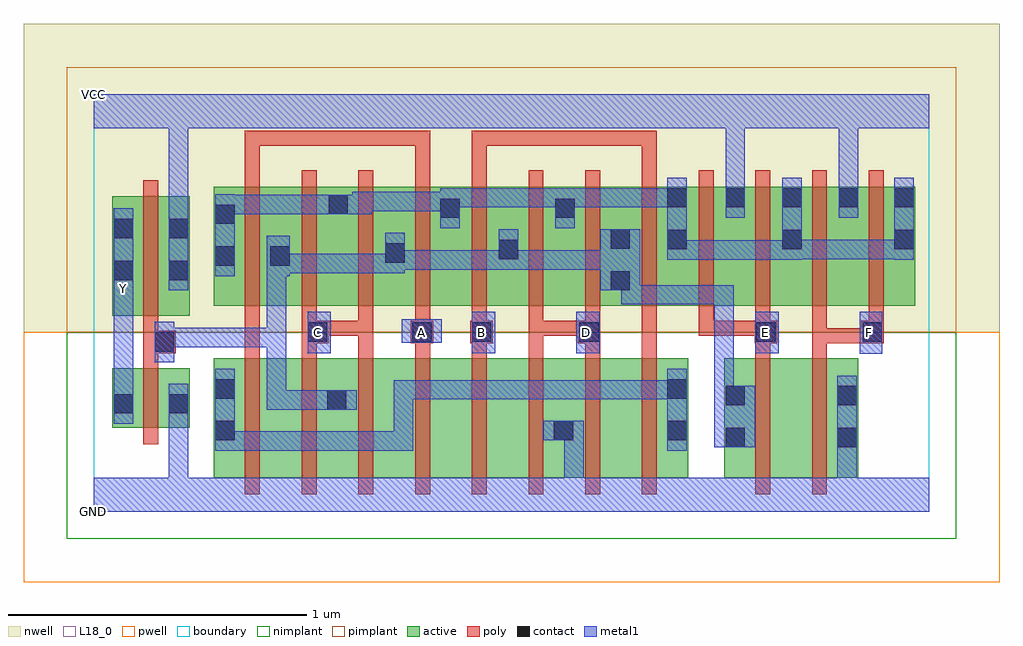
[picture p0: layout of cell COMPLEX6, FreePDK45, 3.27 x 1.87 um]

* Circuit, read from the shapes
.subckt COMPLEX6 A B C D E F GND VCC Y
M1 GND n1 Y VSUBS nfet w=0.2u l=0.05u
M2 n2 A n3 VSUBS nfet w=0.4u l=0.05u
M3 n1 C n2 VSUBS nfet w=0.4u l=0.05u
M4 n4 C n1 VSUBS nfet w=0.4u l=0.05u
M5 n5 A n4 VSUBS nfet w=0.4u l=0.05u
M6 n6 B n5 VSUBS nfet w=0.4u l=0.05u
M7 GND D n6 VSUBS nfet w=0.4u l=0.05u
M8 n7 D GND VSUBS nfet w=0.4u l=0.05u
M9 n3 B n7 VSUBS nfet w=0.4u l=0.05u
M10 n8 E n1 VSUBS nfet w=0.4u l=0.05u
M11 GND F n8 VSUBS nfet w=0.4u l=0.05u
M12 VCC n1 Y n9 pfet w=0.4u l=0.05u
M13 n1 A n10 n9 pfet w=0.4u l=0.05u m=2
M14 n10 C n1 n9 pfet w=0.4u l=0.05u m=2
M15 n1 B n10 n9 pfet w=0.4u l=0.05u m=2
M16 n10 D n1 n9 pfet w=0.4u l=0.05u m=2
M17 VCC E n10 n9 pfet w=0.4u l=0.05u m=2
M18 VCC F n10 n9 pfet w=0.4u l=0.05u m=2
.ends

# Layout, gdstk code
import gdstk
lib = gdstk.Library(unit=1e-6, precision=1e-09)
def R(c, l, rs):  # rectangles x0, y0, x1, y1
    for r in rs: c.add(gdstk.rectangle(r[:2], r[2:], *l))
def A(c, l, x, y, w, h, nx, ny, dx, dy):  # array of equal rectangles
    R(c, l, [(x+i*dx, y+j*dy, x+i*dx+w, y+j*dy+h) for i in range(nx) for j in range(ny)])
active = (1, 0)
pwell = (2, 0)
nwell = (3, 0)
nimplant = (4, 0)
pimplant = (5, 0)
poly = (9, 0)
contact = (10, 0)
metal1 = (11, 0)
L18_0 = (18, 0)
boundary = (235, 0)

complex6 = lib.new_cell('COMPLEX6')
A(complex6, active, 0.402, 0.69, 0.26, 0.4, 3, 1, 0.57, 0)
R(complex6, active, [(0.402,0.115,0.627,0.515), (0.627,0.115,0.852,0.515), (0.777,0.115,1.007,0.515), (1.007,0.115,1.197,0.515), (1.197,0.115,1.387,0.515), (1.387,0.115,1.612,0.515), (1.537,0.115,1.767,0.515), (1.767,0.115,1.992,0.515), (2.112,0.115,2.337,0.515), (2.337,0.115,2.562,0.515), (2.487,0.115,2.562,0.515), (0.402,0.147,0.507,0.515), (0.777,0.147,0.852,0.492), (1.537,0.147,1.612,0.492), (1.917,0.147,1.992,0.515), (2.112,0.147,2.217,0.515), (0.062,0.282,0.137,0.482), (0.062,0.282,0.322,0.482), (0.247,0.282,0.322,0.482), (0.062,0.657,0.137,1.057), (0.062,0.657,0.322,1.057), (0.247,0.657,0.322,1.057), (0.402,0.69,0.477,1.067), (0.587,0.69,0.857,1.09), (0.782,0.69,1.047,1.09), (1.157,0.69,1.427,1.09), (1.352,0.69,1.617,1.09), (1.352,0.69,1.427,1.067), (1.727,0.69,1.992,1.09), (1.727,0.69,1.802,1.067), (1.917,0.69,1.992,1.09), (1.917,0.69,2.187,1.09), (2.112,0.69,2.377,1.09), (2.302,0.69,2.377,1.09), (2.302,0.69,2.567,1.09), (2.492,0.69,2.567,1.09), (2.492,0.69,2.752,1.09), (2.677,0.69,2.752,1.09), (0.587,0.702,0.662,1.067), (0.972,0.712,1.047,1.067), (0.782,0.782,0.857,1.067), (1.542,0.782,1.617,1.09), (1.157,0.802,1.232,1.09), (2.112,0.802,2.187,1.09)])
R(complex6, pwell, [(-0.235,-0.235,3.035,0.602)])
R(complex6, nwell, [(-0.235,0.602,3.035,1.635)])
R(complex6, nimplant, [(-0.09,-0.09,2.89,0.602)])
R(complex6, pimplant, [(-0.09,0.602,2.89,1.49)])
A(complex6, poly, 0.507, 0.06, 0.05, 0.51, 8, 1, 0.19, 0)
A(complex6, poly, 0.507, 0.59, 0.05, 0.095, 10, 1, 0.19, 0)
A(complex6, poly, 0.507, 0.635, 0.05, 0.51, 12, 1, 0.19, 0)
R(complex6, poly, [(2.217,0.06,2.267,0.57), (2.407,0.06,2.457,0.57), (0.167,0.227,0.217,0.537), (0.167,0.487,0.217,0.582), (0.507,0.52,0.557,0.64), (0.697,0.52,0.747,0.615), (0.887,0.52,0.937,0.64), (1.077,0.52,1.127,0.615), (1.267,0.52,1.317,0.615), (1.457,0.52,1.507,0.64), (1.647,0.52,1.697,0.615), (1.837,0.52,1.887,0.64), (2.217,0.52,2.267,0.615), (2.407,0.52,2.457,0.615), (0.167,0.532,0.275,0.607), (0.167,0.557,0.217,0.652), (0.697,0.565,0.787,0.64), (1.062,0.565,1.137,0.64), (1.262,0.565,1.337,0.64), (1.622,0.565,1.697,0.64), (2.215,0.565,2.29,0.64), (2.407,0.565,2.622,0.615), (2.407,0.565,2.457,0.615), (2.407,0.565,2.457,0.615), (2.407,0.565,2.457,0.615), (2.407,0.565,2.457,0.685), (2.572,0.565,2.647,0.64), (0.507,0.59,0.557,0.64), (0.737,0.59,0.787,0.64), (0.737,0.59,0.787,0.64), (0.737,0.59,0.937,0.64), (0.887,0.59,0.937,0.64), (1.457,0.59,1.672,0.64), (1.457,0.59,1.507,0.64), (1.622,0.59,1.672,0.64), (1.622,0.59,1.672,0.64), (1.837,0.59,1.887,0.64), (2.027,0.59,2.077,0.64), (2.027,0.59,2.265,0.64), (2.215,0.59,2.265,0.64), (2.215,0.59,2.265,0.64), (2.597,0.59,2.647,0.685), (0.167,0.602,0.217,1.112), (0.507,1.095,0.557,1.277), (1.077,1.095,1.127,1.277), (1.267,1.095,1.317,1.277), (1.837,1.095,1.887,1.277), (0.507,1.227,0.557,1.277), (0.507,1.227,0.557,1.277), (0.507,1.227,0.557,1.277), (0.507,1.227,0.69,1.277), (0.64,1.227,0.69,1.277), (0.64,1.227,0.92,1.277), (0.87,1.227,0.92,1.277), (0.87,1.227,0.92,1.277), (0.87,1.227,0.92,1.277), (0.87,1.227,1.127,1.277), (1.077,1.227,1.127,1.277), (1.077,1.227,1.127,1.277), (1.077,1.227,1.127,1.277), (1.267,1.227,1.317,1.277), (1.267,1.227,1.317,1.277), (1.267,1.227,1.317,1.277), (1.267,1.227,1.54,1.277), (1.49,1.227,1.54,1.277), (1.49,1.227,1.672,1.277), (1.622,1.227,1.672,1.277), (1.622,1.227,1.672,1.277), (1.622,1.227,1.672,1.277), (1.622,1.227,1.887,1.277), (1.837,1.227,1.887,1.277), (1.837,1.227,1.887,1.277), (1.837,1.227,1.887,1.277)])
A(complex6, contact, 2.117, 1.02, 0.065, 0.065, 3, 1, 0.19, 0)
R(complex6, contact, [(2.117,0.217,2.182,0.282), (2.492,0.217,2.557,0.282), (0.407,0.24,0.472,0.305), (1.542,0.24,1.607,0.305), (1.922,0.24,1.987,0.305), (0.067,0.33,0.132,0.395), (0.252,0.33,0.317,0.395), (0.782,0.342,0.847,0.407), (2.117,0.357,2.182,0.422), (2.492,0.357,2.557,0.422), (0.407,0.38,0.472,0.445), (1.922,0.38,1.987,0.445), (0.205,0.537,0.27,0.602), (0.717,0.57,0.782,0.635), (1.067,0.57,1.132,0.635), (1.267,0.57,1.332,0.635), (1.627,0.57,1.692,0.635), (2.22,0.57,2.285,0.635), (2.577,0.57,2.642,0.635), (1.732,0.742,1.797,0.807), (0.067,0.777,0.132,0.842), (0.252,0.777,0.317,0.842), (0.407,0.825,0.472,0.89), (0.592,0.825,0.657,0.89), (0.977,0.835,1.042,0.9), (1.357,0.847,1.422,0.912), (1.922,0.88,1.987,0.945), (2.307,0.88,2.372,0.945), (2.682,0.88,2.747,0.945), (1.732,0.882,1.797,0.947), (0.067,0.917,0.132,0.982), (0.252,0.917,0.317,0.982), (0.407,0.965,0.472,1.03), (1.162,0.985,1.227,1.05), (1.547,0.985,1.612,1.05), (0.787,0.997,0.852,1.062), (1.922,1.02,1.987,1.085), (2.682,1.02,2.747,1.085)])
R(complex6, metal1, [(0,0,2.8,0.115), (0.252,0.05,0.317,0.36), (1.577,0.05,1.642,0.305), (2.492,0.05,2.557,0.247), (2.492,0.182,2.557,0.457), (0.407,0.205,0.472,0.48), (0.407,0.205,0.52,0.27), (0.455,0.205,0.52,0.27), (0.455,0.205,0.657,0.27), (0.592,0.205,0.657,0.27), (0.592,0.205,0.795,0.27), (0.73,0.205,0.795,0.27), (0.73,0.205,0.795,0.27), (0.73,0.205,0.795,0.27), (0.73,0.205,0.932,0.27), (0.867,0.205,0.932,0.27), (0.867,0.205,1.07,0.27), (1.005,0.205,1.07,0.27), (1.005,0.205,1.07,0.422), (1.922,0.205,1.987,0.48), (2.08,0.217,2.217,0.422), (1.507,0.24,1.642,0.305), (0.067,0.295,0.132,0.43), (0.252,0.295,0.317,0.36), (0.252,0.295,0.317,0.36), (0.252,0.295,0.317,0.36), (0.252,0.295,0.317,0.36), (0.252,0.295,0.317,0.43), (0.58,0.342,0.645,0.407), (0.58,0.342,0.645,0.617), (0.58,0.342,0.795,0.407), (0.73,0.342,0.795,0.407), (0.73,0.342,0.795,0.407), (0.73,0.342,0.882,0.407), (1.005,0.357,1.07,0.422), (1.005,0.357,1.07,0.422), (1.005,0.357,1.07,0.442), (2.08,0.357,2.145,0.76), (0.067,0.365,0.132,0.742), (1.005,0.377,1.285,0.442), (1.22,0.377,1.285,0.442), (1.22,0.377,1.285,0.442), (1.22,0.377,1.285,0.442), (1.22,0.377,1.435,0.442), (1.37,0.377,1.435,0.442), (1.37,0.377,1.435,0.442), (1.37,0.377,1.435,0.442), (1.37,0.377,1.625,0.442), (1.56,0.377,1.625,0.442), (1.56,0.377,1.625,0.442), (1.56,0.377,1.625,0.442), (1.56,0.377,1.832,0.442), (1.767,0.377,1.832,0.442), (1.767,0.377,1.832,0.442), (1.767,0.377,1.832,0.442), (1.767,0.377,1.987,0.442), (0.205,0.502,0.27,0.637), (2.567,0.53,2.642,0.67), (0.717,0.532,0.795,0.67), (1.267,0.532,1.345,0.67), (1.617,0.532,1.695,0.67), (2.217,0.532,2.295,0.67), (0.205,0.552,0.317,0.617), (0.252,0.552,0.317,0.617), (0.252,0.552,0.407,0.617), (0.342,0.552,0.407,0.617), (0.342,0.552,0.455,0.617), (0.39,0.552,0.455,0.617), (0.39,0.552,0.645,0.617), (0.58,0.552,0.645,0.617), (0.58,0.552,0.645,0.855), (1.032,0.567,1.167,0.645), (0.067,0.677,0.132,0.817), (1.767,0.695,1.832,0.76), (1.767,0.695,1.832,0.76), (1.767,0.695,1.832,0.76), (1.767,0.695,1.97,0.76), (1.767,0.695,1.832,0.807), (1.905,0.695,1.97,0.76), (1.905,0.695,1.97,0.76), (1.905,0.695,1.97,0.76), (1.905,0.695,2.145,0.76), (2.08,0.695,2.145,0.76), (0.067,0.742,0.132,0.807), (0.067,0.742,0.132,1.017), (0.252,0.742,0.317,1.017), (1.697,0.742,1.832,0.947), (0.407,0.79,0.472,1.065), (0.58,0.79,0.657,0.925), (0.592,0.8,0.795,0.865), (0.73,0.8,0.795,0.865), (0.73,0.8,0.795,0.865), (0.73,0.8,0.795,0.865), (0.73,0.8,0.932,0.865), (0.867,0.8,0.932,0.865), (0.867,0.8,1.042,0.865), (0.977,0.8,1.042,0.935), (0.977,0.812,1.07,0.877), (1.005,0.812,1.07,0.877), (1.005,0.812,1.285,0.877), (1.22,0.812,1.285,0.877), (1.22,0.812,1.285,0.877), (1.22,0.812,1.285,0.877), (1.22,0.812,1.422,0.877), (1.357,0.812,1.422,0.877), (1.357,0.812,1.422,0.877), (1.357,0.812,1.422,0.947), (1.357,0.812,1.572,0.877), (1.507,0.812,1.572,0.877), (1.507,0.812,1.572,0.877), (1.507,0.812,1.572,0.877), (1.507,0.812,1.762,0.877), (1.922,0.845,1.987,0.91), (1.922,0.845,1.987,0.91), (1.922,0.845,1.987,0.91), (1.922,0.845,1.987,0.91), (1.922,0.845,1.987,1.12), (1.922,0.845,2.235,0.91), (2.17,0.845,2.235,0.91), (2.17,0.845,2.235,0.91), (2.17,0.845,2.235,0.91), (2.17,0.845,2.372,0.91), (2.307,0.845,2.372,1.12), (2.682,0.845,2.747,1.12), (2.307,0.847,2.372,0.912), (2.307,0.847,2.372,0.912), (2.307,0.847,2.51,0.912), (2.445,0.847,2.51,0.912), (2.445,0.847,2.747,0.912), (2.682,0.847,2.747,0.912), (2.682,0.847,2.747,0.912), (1.162,0.95,1.227,1.085), (1.547,0.95,1.612,1.085), (0.252,0.952,0.317,1.35), (2.117,0.985,2.182,1.12), (2.497,0.985,2.562,1.12), (0.407,0.997,0.52,1.062), (0.455,0.997,0.52,1.062), (0.455,0.997,0.61,1.062), (0.545,0.997,0.61,1.062), (0.545,0.997,0.657,1.062), (0.592,0.997,0.657,1.062), (0.592,0.997,0.817,1.062), (0.752,0.997,0.887,1.062), (0.822,0.997,0.932,1.062), (0.867,0.997,0.932,1.072), (0.867,1.007,1.07,1.072), (1.005,1.007,1.07,1.072), (1.005,1.007,1.07,1.072), (1.005,1.007,1.07,1.072), (1.005,1.007,1.227,1.072), (1.162,1.02,1.227,1.085), (1.162,1.02,1.227,1.085), (1.162,1.02,1.422,1.085), (1.357,1.02,1.422,1.085), (1.357,1.02,1.422,1.085), (1.357,1.02,1.422,1.085), (1.357,1.02,1.612,1.085), (1.547,1.02,1.612,1.085), (1.547,1.02,1.612,1.085), (1.547,1.02,1.832,1.085), (1.767,1.02,1.832,1.085), (1.767,1.02,1.832,1.085), (1.767,1.02,1.832,1.085), (1.767,1.02,1.987,1.085), (2.117,1.055,2.182,1.12), (2.117,1.055,2.182,1.12), (2.117,1.055,2.182,1.35), (2.497,1.055,2.562,1.12), (2.497,1.055,2.562,1.12), (2.497,1.055,2.562,1.35), (0,1.285,2.8,1.4), (0.252,1.285,0.317,1.35), (0.252,1.285,0.317,1.35)])
R(complex6, L18_0, [(0,0,2.8,0.115), (0.252,0.05,0.317,0.36), (1.577,0.05,1.642,0.305), (2.492,0.05,2.557,0.247), (2.492,0.182,2.557,0.457), (1.507,0.24,1.642,0.305), (0.067,0.295,0.132,0.43), (0.252,0.295,0.317,0.43), (0.252,0.295,0.317,0.36), (0.252,0.295,0.317,0.36), (0.252,0.295,0.317,0.36), (0.252,0.295,0.317,0.36), (0.067,0.365,0.132,0.742), (2.567,0.53,2.642,0.67), (0.717,0.532,0.795,0.67), (1.267,0.532,1.345,0.67), (1.617,0.532,1.695,0.67), (2.217,0.532,2.295,0.67), (0.717,0.567,0.782,0.632), (1.032,0.567,1.167,0.645), (1.067,0.567,1.132,0.632), (1.267,0.567,1.332,0.632), (1.617,0.567,1.682,0.632), (2.217,0.567,2.282,0.632), (2.567,0.567,2.632,0.632), (0.067,0.677,0.132,0.817), (0.067,0.717,0.132,0.782), (0.067,0.742,0.132,1.017), (0.067,0.742,0.132,0.807), (0.252,0.742,0.317,1.017), (0.252,0.952,0.317,1.35), (2.117,0.985,2.182,1.12), (2.497,0.985,2.562,1.12), (2.117,1.055,2.182,1.12), (2.117,1.055,2.182,1.12), (2.117,1.055,2.182,1.35), (2.497,1.055,2.562,1.12), (2.497,1.055,2.562,1.12), (2.497,1.055,2.562,1.35), (0,1.285,2.8,1.4), (0.252,1.285,0.317,1.35), (0.252,1.285,0.317,1.35)])
R(complex6, boundary, [(0,0,2.8,1.4)])
complex6.add(gdstk.Label('A', (1.1,0.6), layer=11, texttype=0))
complex6.add(gdstk.Label('B', (1.3,0.6), layer=11, texttype=0))
complex6.add(gdstk.Label('C', (0.75,0.6), layer=11, texttype=0))
complex6.add(gdstk.Label('D', (1.65,0.6), layer=11, texttype=0))
complex6.add(gdstk.Label('E', (2.25,0.6), layer=11, texttype=0))
complex6.add(gdstk.Label('F', (2.6,0.6), layer=11, texttype=0))
complex6.add(gdstk.Label('Y', (0.1,0.75), layer=11, texttype=0))
complex6.add(gdstk.Label('VCC', (0,1.4), layer=11, texttype=0))
complex6.add(gdstk.Label('GND', (0,0), layer=11, texttype=0))

lib.write_gds('COMPLEX6.gds')
